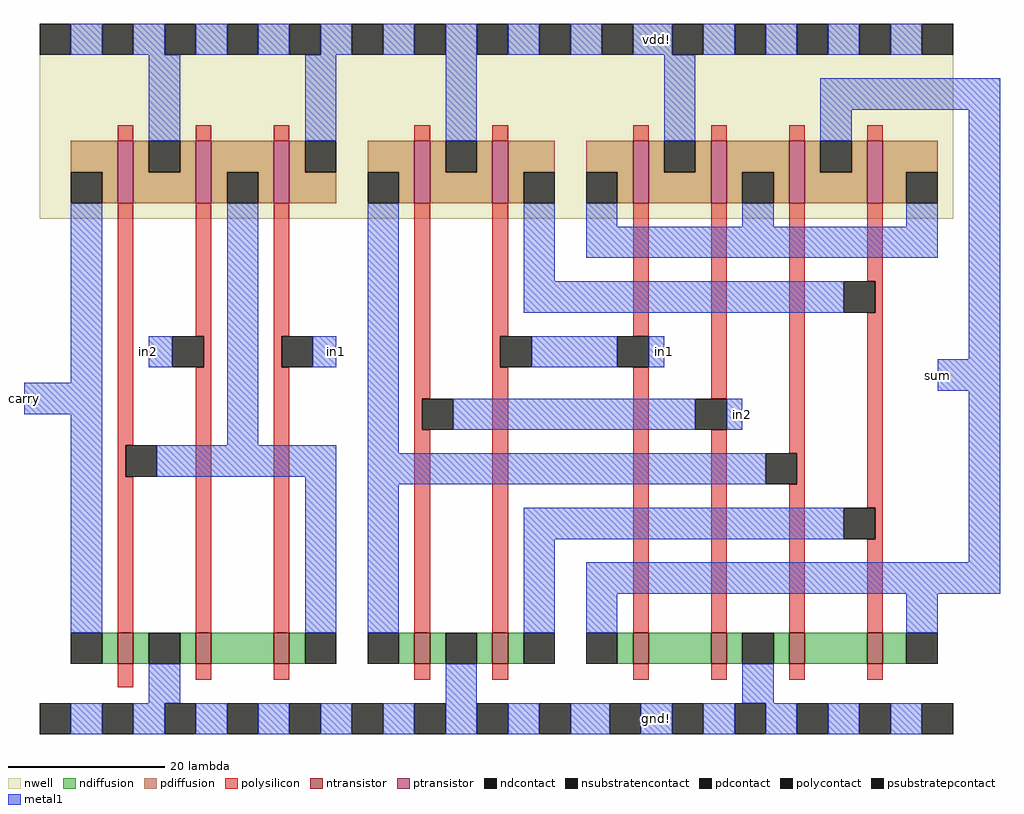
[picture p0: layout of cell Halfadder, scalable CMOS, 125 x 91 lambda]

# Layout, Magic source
magic
tech scmos
<< nwell >>
rect -49 8 68 33
<< polysilicon >>
rect -39 18 -37 20
rect -29 18 -27 20
rect -19 18 -17 20
rect -1 18 1 20
rect 9 18 11 20
rect 27 18 29 20
rect 37 18 39 20
rect 47 18 49 20
rect 57 18 59 20
rect -39 -21 -37 10
rect -29 -7 -27 10
rect -28 -11 -27 -7
rect -39 -25 -38 -21
rect -39 -45 -37 -25
rect -29 -45 -27 -11
rect -19 -7 -17 10
rect -19 -11 -18 -7
rect -19 -45 -17 -11
rect -1 -15 1 10
rect 9 -7 11 10
rect 27 -7 29 10
rect 9 -11 10 -7
rect -1 -19 0 -15
rect -1 -45 1 -19
rect 9 -45 11 -11
rect 27 -45 29 -11
rect 37 -15 39 10
rect 37 -45 39 -19
rect 47 -22 49 10
rect 57 0 59 10
rect 58 -4 59 0
rect 48 -26 49 -22
rect 47 -45 49 -26
rect 57 -29 59 -4
rect 58 -33 59 -29
rect 57 -45 59 -33
rect -39 -52 -37 -49
rect -29 -51 -27 -49
rect -19 -51 -17 -49
rect -1 -51 1 -49
rect 9 -51 11 -49
rect 27 -51 29 -49
rect 37 -51 39 -49
rect 47 -51 49 -49
rect 57 -51 59 -49
<< ndiffusion >>
rect -41 -49 -39 -45
rect -37 -49 -35 -45
rect -31 -49 -29 -45
rect -27 -49 -19 -45
rect -17 -49 -15 -45
rect -3 -49 -1 -45
rect 1 -49 3 -45
rect 7 -49 9 -45
rect 11 -49 13 -45
rect 25 -49 27 -45
rect 29 -49 37 -45
rect 39 -49 41 -45
rect 45 -49 47 -45
rect 49 -49 57 -45
rect 59 -49 62 -45
<< pdiffusion >>
rect -45 14 -39 18
rect -41 10 -39 14
rect -37 14 -35 18
rect -31 14 -29 18
rect -37 10 -29 14
rect -27 14 -19 18
rect -27 10 -25 14
rect -21 10 -19 14
rect -17 14 -15 18
rect -17 10 -11 14
rect -7 14 -1 18
rect -3 10 -1 14
rect 1 14 3 18
rect 7 14 9 18
rect 1 10 9 14
rect 11 14 17 18
rect 11 10 13 14
rect 21 14 27 18
rect 25 10 27 14
rect 29 14 31 18
rect 35 14 37 18
rect 29 10 37 14
rect 39 14 47 18
rect 39 10 41 14
rect 45 10 47 14
rect 49 14 51 18
rect 55 14 57 18
rect 49 10 57 14
rect 59 14 66 18
rect 59 10 62 14
<< metal1 >>
rect -45 29 -41 33
rect -37 29 -33 33
rect -29 29 -25 33
rect -21 29 -17 33
rect -13 29 -9 33
rect -5 29 -1 33
rect -35 18 -31 29
rect -15 18 -11 29
rect 3 18 7 33
rect 11 29 15 33
rect 19 29 23 33
rect 27 29 32 33
rect 36 29 40 33
rect 44 29 48 33
rect 52 29 56 33
rect 60 29 64 33
rect 31 18 35 29
rect 51 22 74 26
rect 51 18 55 22
rect -45 -13 -41 10
rect -35 -11 -32 -7
rect -51 -17 -41 -13
rect -45 -45 -41 -17
rect -25 -21 -21 10
rect -14 -11 -11 -7
rect -34 -25 -11 -21
rect -15 -45 -11 -25
rect -7 -22 -3 10
rect 13 0 17 10
rect 21 7 25 10
rect 41 7 45 10
rect 62 7 66 10
rect 21 3 66 7
rect 13 -4 54 0
rect 14 -11 25 -7
rect 29 -11 31 -7
rect 70 -10 74 22
rect 66 -14 74 -10
rect 4 -19 35 -15
rect 39 -19 41 -15
rect -7 -26 44 -22
rect -7 -45 -3 -26
rect 13 -33 54 -29
rect 13 -45 17 -33
rect 70 -36 74 -14
rect 21 -40 74 -36
rect 21 -45 25 -40
rect 62 -45 66 -40
rect -35 -54 -31 -49
rect -45 -58 -41 -54
rect -37 -58 -33 -54
rect -29 -58 -25 -54
rect -21 -58 -17 -54
rect -13 -58 -9 -54
rect -5 -58 -1 -54
rect 3 -58 7 -49
rect 41 -54 45 -49
rect 11 -58 15 -54
rect 19 -58 24 -54
rect 28 -58 32 -54
rect 36 -58 40 -54
rect 44 -58 48 -54
rect 52 -58 56 -54
rect 60 -58 64 -54
<< ntransistor >>
rect -39 -49 -37 -45
rect -29 -49 -27 -45
rect -19 -49 -17 -45
rect -1 -49 1 -45
rect 9 -49 11 -45
rect 27 -49 29 -45
rect 37 -49 39 -45
rect 47 -49 49 -45
rect 57 -49 59 -45
<< ptransistor >>
rect -39 10 -37 18
rect -29 10 -27 18
rect -19 10 -17 18
rect -1 10 1 18
rect 9 10 11 18
rect 27 10 29 18
rect 37 10 39 18
rect 47 10 49 18
rect 57 10 59 18
<< polycontact >>
rect -32 -11 -28 -7
rect -38 -25 -34 -21
rect -18 -11 -14 -7
rect 10 -11 14 -7
rect 25 -11 29 -7
rect 0 -19 4 -15
rect 35 -19 39 -15
rect 54 -4 58 0
rect 44 -26 48 -22
rect 54 -33 58 -29
<< ndcontact >>
rect -45 -49 -41 -45
rect -35 -49 -31 -45
rect -15 -49 -11 -45
rect -7 -49 -3 -45
rect 3 -49 7 -45
rect 13 -49 17 -45
rect 21 -49 25 -45
rect 41 -49 45 -45
rect 62 -49 66 -45
<< pdcontact >>
rect -45 10 -41 14
rect -35 14 -31 18
rect -25 10 -21 14
rect -15 14 -11 18
rect -7 10 -3 14
rect 3 14 7 18
rect 13 10 17 14
rect 21 10 25 14
rect 31 14 35 18
rect 41 10 45 14
rect 51 14 55 18
rect 62 10 66 14
<< psubstratepcontact >>
rect -49 -58 -45 -54
rect -41 -58 -37 -54
rect -33 -58 -29 -54
rect -25 -58 -21 -54
rect -17 -58 -13 -54
rect -9 -58 -5 -54
rect -1 -58 3 -54
rect 7 -58 11 -54
rect 15 -58 19 -54
rect 24 -58 28 -54
rect 32 -58 36 -54
rect 40 -58 44 -54
rect 48 -58 52 -54
rect 56 -58 60 -54
rect 64 -58 68 -54
<< nsubstratencontact >>
rect -49 29 -45 33
rect -41 29 -37 33
rect -33 29 -29 33
rect -25 29 -21 33
rect -17 29 -13 33
rect -9 29 -5 33
rect -1 29 3 33
rect 7 29 11 33
rect 15 29 19 33
rect 23 29 27 33
rect 32 29 36 33
rect 40 29 44 33
rect 48 29 52 33
rect 56 29 60 33
rect 64 29 68 33
<< labels >>
rlabel metal1 31 -11 31 -7 1 in1
rlabel metal1 41 -19 41 -15 1 in2
rlabel metal1 30 -56 30 -56 1 gnd!
rlabel metal1 30 31 30 31 5 vdd!
rlabel metal1 -11 -11 -11 -7 1 in1
rlabel metal1 -35 -11 -35 -7 1 in2
rlabel metal1 66 -14 66 -10 1 sum
rlabel metal1 -51 -17 -51 -13 3 carry
<< end >>
